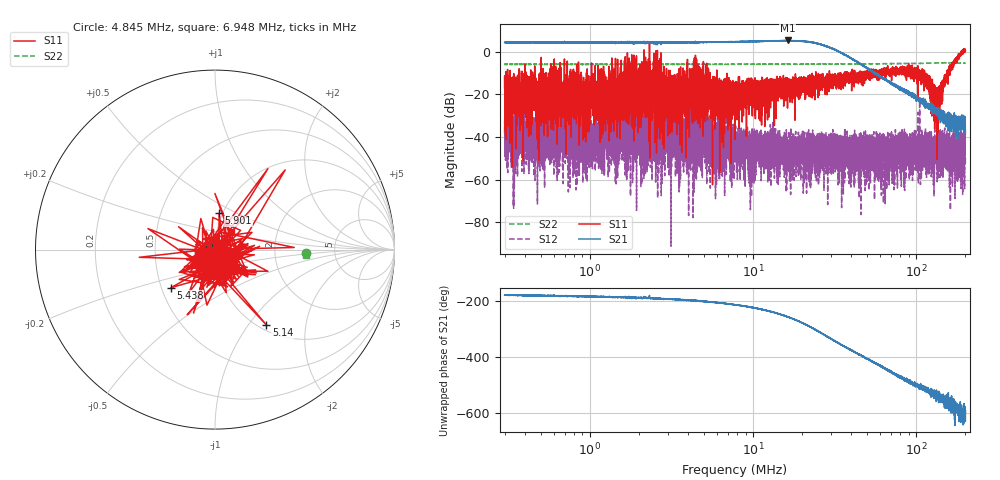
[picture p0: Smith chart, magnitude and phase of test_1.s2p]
# Hz S DB R 50
! CMT, M5065, 19127446, 24.2.4/2
! Date: 11/1/2024 4:55:11 PM
! Data: Format (Calibration Info)
! Freq	S11:dB/Ang(F2)	S21:dB/Ang(F2)	S12:dB/Ang(F2)	S22:dB/Ang(F2)
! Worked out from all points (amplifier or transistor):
!   9000 points, 300 kHz to 200 MHz, reference 50 ohm
!   highest |S21| = 5.3 dB at 16.3 MHz (marker M1)
!   |S21| within 3 dB of that: start of sweep to 28.65 MHz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
!   unconditionally stable (mu >= 1): start of sweep to 1.697 MHz; 2.593 MHz to 187.3 MHz; 187.5 MHz to 189.2 MHz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
!   at 886.8 kHz: K = 9.88, MAG = 6.1 dB, |S12| = -33.7 dB
!   at 7.749 MHz: K = 36.35, MAG = 6.1 dB, |S12| = -44.6 dB
!   at 200 MHz: K = -1927.70, MSG = 6.9 dB, |S12| = -52.5 dB
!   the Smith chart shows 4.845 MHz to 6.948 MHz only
!   S11 on the Smith chart (normalised r, x): 4.845 MHz: 1.01, -0.10; 5.14 MHz: 1.08, -1.23; 5.438 MHz: 0.56, -0.27; 5.901 MHz: 0.96, +0.41; 6.948 MHz: 1.17, +0.24
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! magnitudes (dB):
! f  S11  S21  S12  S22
! 300 kHz  -16.8  4.3  -37.9  -5.9
! 326.9 kHz  -37.2  4.4  -36.7  -5.9
! 486.8 kHz  -51.0  4.4  -36.5  -5.9
! 886.8 kHz  -10.9  4.4  -33.7  -5.9
! 1.993 MHz  -24.1  4.3  -48.3  -5.9
! 2.217 MHz  -30.8  4.5  -47.9  -5.9
! 2.621 MHz  -21.2  4.4  -40.0  -5.9
! 4.845 MHz  -25.9  4.5  -41.0  -5.9
! 5.14 MHz  -5.9  4.6  -43.4  -5.9
! 5.438 MHz  -9.7  4.7  -45.6  -5.9
! 5.901 MHz  -13.8  4.5  -49.8  -5.9
! 6.948 MHz  -17.5  4.6  -40.1  -5.9
! 7.749 MHz  -24.7  4.7  -44.6  -5.8
! 16.3 MHz  -12.7  5.3  -42.9  -5.8
! 22.91 MHz  -12.9  4.4  -45.4  -5.9
! 67.71 MHz  -8.9  -14.1  -54.3  -5.5
! 106.4 MHz  -9.9  -22.4  -42.6  -5.5
! 120.3 MHz  -18.3  -26.1  -46.3  -5.3
! 132.6 MHz  -21.1  -28.4  -44.5  -5.2
! 163.1 MHz  -7.7  -35.9  -49.0  -5.2
! 191.1 MHz  -0.9  -36.6  -42.0  -5.3
! 200 MHz  0.6  -38.6  -52.5  -5.3
